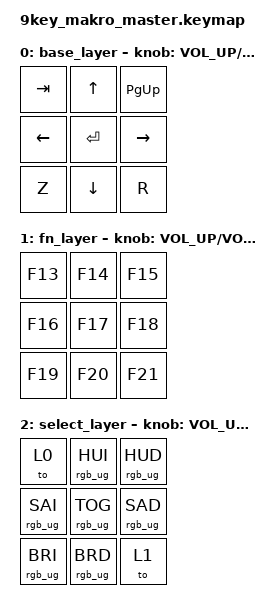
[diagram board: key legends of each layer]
#include <behaviors.dtsi>
#include <dt-bindings/zmk/keys.h>
#include <dt-bindings/zmk/rgb.h>

/ {
    keymap {
        compatible = "zmk,keymap";

        base_layer {
            bindings = <
                &kp TAB        &kp UP         &kp PG_UP
                &kp LEFT       &kp ENTER      &kp RIGHT
                &kp Z          &kp DOWN       &kp R
            >;
            sensor-bindings = <&inc_dec_kp C_VOL_UP C_VOL_DN>;
        };

        fn_layer {
            bindings = <
                &kp F13        &kp F14        &kp F15
                &kp F16        &kp F17        &kp F18
                &kp F19        &kp F20        &kp F21
            >;
            sensor-bindings = <&inc_dec_kp C_VOL_UP C_VOL_DN>;
        };

        select_layer {
            bindings = <
                &to 0          &rgb_ug RGB_HUI &rgb_ug RGB_HUD
                &rgb_ug RGB_SAI &rgb_ug RGB_TOG &rgb_ug RGB_SAD
                &rgb_ug RGB_BRI &rgb_ug RGB_BRD &to 1
            >;
            sensor-bindings = <&inc_dec_kp C_VOL_UP C_VOL_DN>;
        };
    };
};
